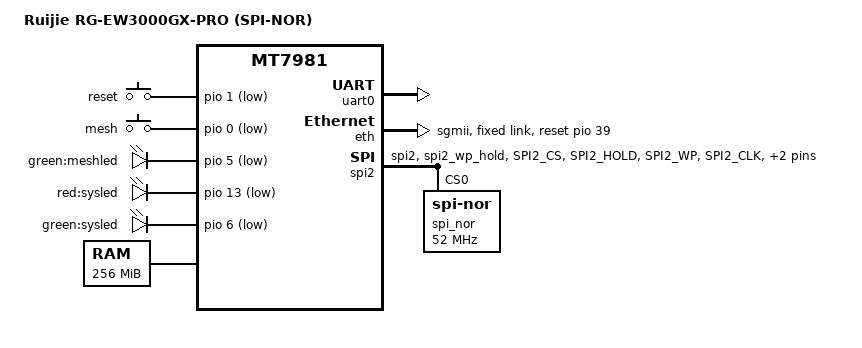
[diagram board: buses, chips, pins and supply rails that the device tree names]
// SPDX-License-Identifier: GPL-2.0-or-later

/dts-v1/;
#include "mt7981.dtsi"
#include <dt-bindings/gpio/gpio.h>

/ {
	#address-cells = <1>;
	#size-cells = <1>;

	model = "Ruijie RG-EW3000GX-PRO (SPI-NOR)";
	compatible = "mediatek,mt7981", "mediatek,mt7981-rfb";

	chosen {
		stdout-path = &uart0;
		tick-timer = &timer0;
	};

	config {
		bootcmd = "mtkboardboot";
		blink_led = "red:sysled";
		system_led = "red:sysled";
	};

	mtd-layout {
		layout@0 {
			label = "default";
			cmdline = "console=ttyS0,115200n1 loglevel=8 earlycon=uart8250,mmio32,0x11002000 bootpart=firmware";
			mtdids = "nor0=nor0";
			mtdparts = "nor0:256k(bl2),64k(u-boot-env),64k(Factory),512k(fip),64k(product_info),64k(kdump),15m(firmware)";
			boot_part = "firmware";
			factory_part = "firmware";
			sysupgrade_kernel_ubipart = "firmware";
			sysupgrade_rootfs_ubipart = "firmware";
		};
	};

	gpio-keys {
		compatible = "gpio-keys";

		reset-button {
			label = "reset";
			gpios = <&pio 1 GPIO_ACTIVE_LOW>;
			linux,code = <KEY_RESTART>;
		};

		mesh-button {
			label = "mesh";
			gpios = <&pio 0 GPIO_ACTIVE_LOW>;
			linux,code = <KEY_RIGHTALT>;
		};
	};

	leds {
		compatible = "gpio-leds";

		led-0 {
			label = "green:meshled";
			gpios = <&pio 5 GPIO_ACTIVE_LOW>;
		};

		led-1 {
			label = "red:sysled";
			gpios = <&pio 13 GPIO_ACTIVE_LOW>;
		};

		led-2 {
			label = "green:sysled";
			gpios = <&pio 6 GPIO_ACTIVE_LOW>;
		};
	};

	memory@40000000 {
		device_type = "memory";
		reg = <0x40000000 0x10000000>;
	};

	bl2_verify {
		bl2_compatible = "spim-nor";
	};
};

&uart0 {
	status = "okay";
};

&eth {
	status = "okay";
	mediatek,gmac-id = <0>;
	phy-mode = "sgmii";
	mediatek,switch = "mt7531";
	reset-gpios = <&pio 39 GPIO_ACTIVE_HIGH>;

	fixed-link {
		speed = <1000>;
		full-duplex;
	};
};

&pio {
	spi2_flash_pins: spi2-pins-func-1 {
		mux {
			function = "spi";
			groups = "spi2", "spi2_wp_hold";
		};

		conf-pu {
			pins = "SPI2_CS", "SPI2_HOLD", "SPI2_WP";
			drive-strength = <MTK_DRIVE_4mA>;
			bias-pull-up = <MTK_PUPD_SET_R1R0_11>;
		};

		conf-pd {
			pins = "SPI2_CLK", "SPI2_MOSI", "SPI2_MISO";
			drive-strength = <MTK_DRIVE_4mA>;
			bias-pull-down = <MTK_PUPD_SET_R1R0_11>;
		};
	};
};

&spi2 {
	#address-cells = <1>;
	#size-cells = <0>;
	pinctrl-names = "default";
	pinctrl-0 = <&spi2_flash_pins>;
	status = "okay";
	must_tx;
	enhance_timing;
	dma_ext;
	ipm_design;
	support_quad;
	tick_dly = <2>;
	sample_sel = <0>;

	spi_nor@0 {
		compatible = "jedec,spi-nor";
		reg = <0>;
		spi-max-frequency = <52000000>;
		spi-tx-buswidth = <4>;
		spi-rx-buswidth = <4>;
	};
};

&watchdog {
	status = "disabled";
};
